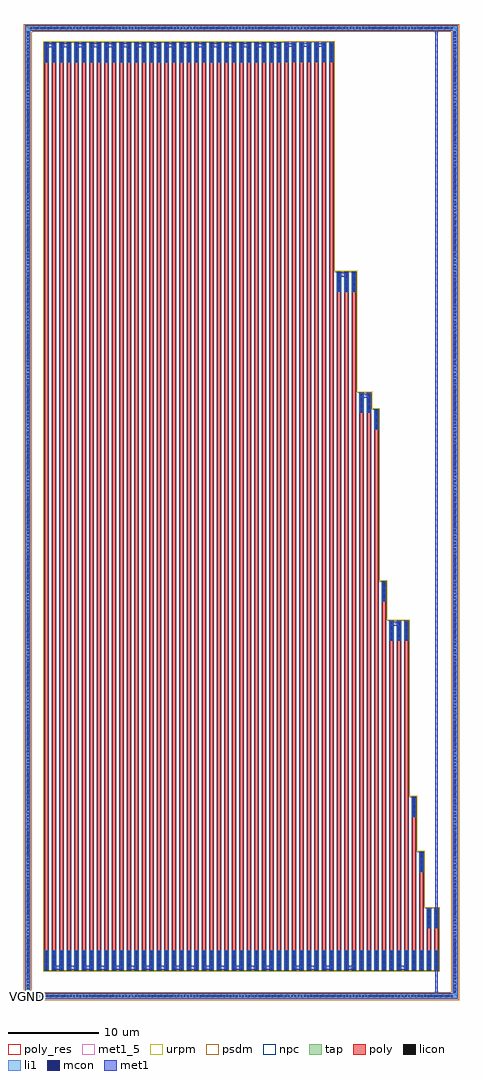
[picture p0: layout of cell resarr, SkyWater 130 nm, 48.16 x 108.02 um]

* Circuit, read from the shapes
.subckt resarr VGND
XR1 sky130_fd_pr__res_xhigh_po_0p35_3NLSCS_3/R1_0 sky130_fd_pr__res_xhigh_po_0p35_3NLSCS_3/R2_0 VGND sky130_fd_pr__res_xhigh_po w=0.35 l=98.31
XR2 sky130_fd_pr__res_xhigh_po_0p35_3NLSCS_3/R1_0 sky130_fd_pr__res_xhigh_po_0p35_3NLSCS_3/R2_1 VGND sky130_fd_pr__res_xhigh_po w=0.35 l=98.31
XR3 sky130_fd_pr__res_xhigh_po_0p35_3NLSCS_3/R1_2 sky130_fd_pr__res_xhigh_po_0p35_3NLSCS_3/R2_1 VGND sky130_fd_pr__res_xhigh_po w=0.35 l=98.31
XR4 sky130_fd_pr__res_xhigh_po_0p35_3NLSCS_3/R1_2 sky130_fd_pr__res_xhigh_po_0p35_3NLSCS_3/R2_3 VGND sky130_fd_pr__res_xhigh_po w=0.35 l=98.31
XR5 sky130_fd_pr__res_xhigh_po_0p35_3NLSCS_3/R1_4 sky130_fd_pr__res_xhigh_po_0p35_3NLSCS_3/R2_3 VGND sky130_fd_pr__res_xhigh_po w=0.35 l=98.31
XR6 sky130_fd_pr__res_xhigh_po_0p35_3NLSCS_3/R1_4 sky130_fd_pr__res_xhigh_po_0p35_3NLSCS_3/R2_5 VGND sky130_fd_pr__res_xhigh_po w=0.35 l=98.31
XR7 sky130_fd_pr__res_xhigh_po_0p35_3NLSCS_3/R1_6 sky130_fd_pr__res_xhigh_po_0p35_3NLSCS_3/R2_5 VGND sky130_fd_pr__res_xhigh_po w=0.35 l=98.31
XR8 sky130_fd_pr__res_xhigh_po_0p35_3NLSCS_3/R1_6 sky130_fd_pr__res_xhigh_po_0p35_3NLSCS_3/R2_7 VGND sky130_fd_pr__res_xhigh_po w=0.35 l=98.31
XR9 sky130_fd_pr__res_xhigh_po_0p35_3NLSCS_3/R1_8 sky130_fd_pr__res_xhigh_po_0p35_3NLSCS_3/R2_7 VGND sky130_fd_pr__res_xhigh_po w=0.35 l=98.31
XR10 sky130_fd_pr__res_xhigh_po_0p35_3NLSCS_3/R1_8 sky130_fd_pr__res_xhigh_po_0p35_3NLSCS_3/R2_10 VGND sky130_fd_pr__res_xhigh_po w=0.35 l=98.31
XR11 sky130_fd_pr__res_xhigh_po_0p35_3NLSCS_3/R1_10 sky130_fd_pr__res_xhigh_po_0p35_3NLSCS_3/R2_10 VGND sky130_fd_pr__res_xhigh_po w=0.35 l=98.31
XR12 sky130_fd_pr__res_xhigh_po_0p35_3NLSCS_3/R1_10 sky130_fd_pr__res_xhigh_po_0p35_3NLSCS_3/R2_11 VGND sky130_fd_pr__res_xhigh_po w=0.35 l=98.31
XR13 sky130_fd_pr__res_xhigh_po_0p35_3NLSCS_3/R1_12 sky130_fd_pr__res_xhigh_po_0p35_3NLSCS_3/R2_11 VGND sky130_fd_pr__res_xhigh_po w=0.35 l=98.31
XR14 sky130_fd_pr__res_xhigh_po_0p35_3NLSCS_3/R1_12 sky130_fd_pr__res_xhigh_po_0p35_3NLSCS_3/R2_13 VGND sky130_fd_pr__res_xhigh_po w=0.35 l=98.31
XR15 sky130_fd_pr__res_xhigh_po_0p35_3NLSCS_3/R1_14 sky130_fd_pr__res_xhigh_po_0p35_3NLSCS_3/R2_13 VGND sky130_fd_pr__res_xhigh_po w=0.35 l=98.31
XR16 sky130_fd_pr__res_xhigh_po_0p35_3NLSCS_3/R1_14 sky130_fd_pr__res_xhigh_po_0p35_3NLSCS_3/R2_15 VGND sky130_fd_pr__res_xhigh_po w=0.35 l=98.31
XR17 sky130_fd_pr__res_xhigh_po_0p35_3NLSCS_3/R1_16 sky130_fd_pr__res_xhigh_po_0p35_3NLSCS_3/R2_15 VGND sky130_fd_pr__res_xhigh_po w=0.35 l=98.31
XR18 sky130_fd_pr__res_xhigh_po_0p35_3NLSCS_3/R1_16 sky130_fd_pr__res_xhigh_po_0p35_3NLSCS_3/R2_17 VGND sky130_fd_pr__res_xhigh_po w=0.35 l=98.31
XR19 sky130_fd_pr__res_xhigh_po_0p35_3NLSCS_3/R1_18 sky130_fd_pr__res_xhigh_po_0p35_3NLSCS_3/R2_17 VGND sky130_fd_pr__res_xhigh_po w=0.35 l=98.31
XR20 sky130_fd_pr__res_xhigh_po_0p35_3NLSCS_3/R1_18 sky130_fd_pr__res_xhigh_po_0p35_3NLSCS_3/R2_19 VGND sky130_fd_pr__res_xhigh_po w=0.35 l=98.31
XR21 sky130_fd_pr__res_xhigh_po_0p35_3NLSCS_3/R1_20 sky130_fd_pr__res_xhigh_po_0p35_3NLSCS_3/R2_19 VGND sky130_fd_pr__res_xhigh_po w=0.35 l=98.31
XR22 sky130_fd_pr__res_xhigh_po_0p35_3NLSCS_3/R1_20 sky130_fd_pr__res_xhigh_po_0p35_3NLSCS_3/R2_21 VGND sky130_fd_pr__res_xhigh_po w=0.35 l=98.31
XR23 sky130_fd_pr__res_xhigh_po_0p35_3NLSCS_3/R1_22 sky130_fd_pr__res_xhigh_po_0p35_3NLSCS_3/R2_21 VGND sky130_fd_pr__res_xhigh_po w=0.35 l=98.31
XR24 sky130_fd_pr__res_xhigh_po_0p35_3NLSCS_3/R1_22 sky130_fd_pr__res_xhigh_po_0p35_3NLSCS_3/R2_23 VGND sky130_fd_pr__res_xhigh_po w=0.35 l=98.31
XR25 sky130_fd_pr__res_xhigh_po_0p35_3NLSCS_3/R1_24 sky130_fd_pr__res_xhigh_po_0p35_3NLSCS_3/R2_23 VGND sky130_fd_pr__res_xhigh_po w=0.35 l=98.31
XR26 sky130_fd_pr__res_xhigh_po_0p35_3NLSCS_3/R1_24 sky130_fd_pr__res_xhigh_po_0p35_3NLSCS_3/R2_25 VGND sky130_fd_pr__res_xhigh_po w=0.35 l=98.31
XR27 sky130_fd_pr__res_xhigh_po_0p35_3NLSCS_3/R1_26 sky130_fd_pr__res_xhigh_po_0p35_3NLSCS_3/R2_25 VGND sky130_fd_pr__res_xhigh_po w=0.35 l=98.31
XR28 sky130_fd_pr__res_xhigh_po_0p35_3NLSCS_3/R1_26 sky130_fd_pr__res_xhigh_po_0p35_3NLSCS_3/R2_27 VGND sky130_fd_pr__res_xhigh_po w=0.35 l=98.31
XR29 sky130_fd_pr__res_xhigh_po_0p35_3NLSCS_3/R1_28 sky130_fd_pr__res_xhigh_po_0p35_3NLSCS_3/R2_27 VGND sky130_fd_pr__res_xhigh_po w=0.35 l=98.31
XR30 sky130_fd_pr__res_xhigh_po_0p35_3NLSCS_3/R1_28 sky130_fd_pr__res_xhigh_po_0p35_3NLSCS_3/R2_29 VGND sky130_fd_pr__res_xhigh_po w=0.35 l=98.31
XR31 sky130_fd_pr__res_xhigh_po_0p35_3NLSCS_3/R1_30 sky130_fd_pr__res_xhigh_po_0p35_3NLSCS_3/R2_29 VGND sky130_fd_pr__res_xhigh_po w=0.35 l=98.31
XR32 sky130_fd_pr__res_xhigh_po_0p35_3NLSCS_3/R1_30 sky130_fd_pr__res_xhigh_po_0p35_3NLSCS_3/R2_31 VGND sky130_fd_pr__res_xhigh_po w=0.35 l=98.31
XR33 sky130_fd_pr__res_xhigh_po_0p35_BNTV37_10/R1_0 sky130_fd_pr__res_xhigh_po_0p35_BNTV37_10/R2_0 VGND sky130_fd_pr__res_xhigh_po w=0.35 l=98.33
XR34 sky130_fd_pr__res_xhigh_po_0p35_BNTV37_10/R1_0 sky130_fd_pr__res_xhigh_po_0p35_BNTV37_10/R2_1 VGND sky130_fd_pr__res_xhigh_po w=0.35 l=98.33
XR35 sky130_fd_pr__res_xhigh_po_0p35_BNTV37_10/R1_2 sky130_fd_pr__res_xhigh_po_0p35_BNTV37_10/R2_1 VGND sky130_fd_pr__res_xhigh_po w=0.35 l=98.33
XR36 sky130_fd_pr__res_xhigh_po_0p35_BNTV37_10/R1_2 sky130_fd_pr__res_xhigh_po_0p35_BNTV37_10/R2_3 VGND sky130_fd_pr__res_xhigh_po w=0.35 l=98.33
XR37 sky130_fd_pr__res_xhigh_po_0p35_BNTV37_10/R1_4 sky130_fd_pr__res_xhigh_po_0p35_BNTV37_10/R2_3 VGND sky130_fd_pr__res_xhigh_po w=0.35 l=98.33
XR38 sky130_fd_pr__res_xhigh_po_0p35_BNTV37_10/R1_4 sky130_fd_pr__res_xhigh_po_0p35_BNTV37_10/R2_5 VGND sky130_fd_pr__res_xhigh_po w=0.35 l=98.33
XR39 sky130_fd_pr__res_xhigh_po_0p35_BNTV37_10/R1_6 sky130_fd_pr__res_xhigh_po_0p35_BNTV37_10/R2_5 VGND sky130_fd_pr__res_xhigh_po w=0.35 l=98.33
XR40 sky130_fd_pr__res_xhigh_po_0p35_5EJA9G_8/R1_0 sky130_fd_pr__res_xhigh_po_0p35_5EJA9G_8/R2_0 VGND sky130_fd_pr__res_xhigh_po w=0.35 l=72.9
XR41 sky130_fd_pr__res_xhigh_po_0p35_5EJA9G_8/R1_0 sky130_fd_pr__res_xhigh_po_0p35_5EJA9G_8/R2_1 VGND sky130_fd_pr__res_xhigh_po w=0.35 l=72.9
XR42 sky130_fd_pr__res_xhigh_po_0p35_5EJA9G_8/R1_2 sky130_fd_pr__res_xhigh_po_0p35_5EJA9G_8/R2_1 VGND sky130_fd_pr__res_xhigh_po w=0.35 l=72.9
XR43 sky130_fd_pr__res_xhigh_po_0p35_AE4F93_6/R1_0 sky130_fd_pr__res_xhigh_po_0p35_AE4F93_6/R2_0 VGND sky130_fd_pr__res_xhigh_po w=0.35 l=59.53
XR44 sky130_fd_pr__res_xhigh_po_0p35_AE4F93_6/R1_0 sky130_fd_pr__res_xhigh_po_0p35_AE4F93_6/R2_1 VGND sky130_fd_pr__res_xhigh_po w=0.35 l=59.53
XR45 sky130_fd_pr__res_xhigh_po_0p35_LB5Z8X_0/R1 sky130_fd_pr__res_xhigh_po_0p35_LB5Z8X_0/R2 VGND sky130_fd_pr__res_xhigh_po w=0.35 l=57.68
XR46 sky130_fd_pr__res_xhigh_po_0p35_K2ZP9Z_7/R1 sky130_fd_pr__res_xhigh_po_0p35_K2ZP9Z_7/R2 VGND sky130_fd_pr__res_xhigh_po w=0.35 l=38.65
XR47 sky130_fd_pr__res_xhigh_po_0p35_YZ7WE6_5/R1_0 sky130_fd_pr__res_xhigh_po_0p35_YZ7WE6_5/R2_0 VGND sky130_fd_pr__res_xhigh_po w=0.35 l=34.29
XR48 sky130_fd_pr__res_xhigh_po_0p35_YZ7WE6_5/R1_0 sky130_fd_pr__res_xhigh_po_0p35_YZ7WE6_5/R2_1 VGND sky130_fd_pr__res_xhigh_po w=0.35 l=34.29
XR49 sky130_fd_pr__res_xhigh_po_0p35_YZ7WE6_5/R1_2 sky130_fd_pr__res_xhigh_po_0p35_YZ7WE6_5/R2_1 VGND sky130_fd_pr__res_xhigh_po w=0.35 l=34.29
XR50 sky130_fd_pr__res_xhigh_po_0p35_69UGH8_9/R1 sky130_fd_pr__res_xhigh_po_0p35_69UGH8_9/R2 VGND sky130_fd_pr__res_xhigh_po w=0.35 l=14.8
XR51 sky130_fd_pr__res_xhigh_po_0p35_629U2W_1/R1 sky130_fd_pr__res_xhigh_po_0p35_629U2W_1/R2 VGND sky130_fd_pr__res_xhigh_po w=0.35 l=8.7
XR52 sky130_fd_pr__res_xhigh_po_0p35_RQEGBP_2/R1 sky130_fd_pr__res_xhigh_po_0p35_RQEGBP_2/R2 VGND sky130_fd_pr__res_xhigh_po w=0.35 l=2.48
XR53 VGND VGND VGND sky130_fd_pr__res_xhigh_po w=0.35 l=2.48
.ends

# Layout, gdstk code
import gdstk
lib = gdstk.Library(unit=1e-6, precision=1e-09)
def R(c, l, rs):  # rectangles x0, y0, x1, y1
    for r in rs: c.add(gdstk.rectangle(r[:2], r[2:], *l))
def A(c, l, x, y, w, h, nx, ny, dx, dy):  # array of equal rectangles
    R(c, l, [(x+i*dx, y+j*dy, x+i*dx+w, y+j*dy+h) for i in range(nx) for j in range(ny)])
tap = (65, 44)
poly_res = (66, 13)
poly = (66, 20)
licon = (66, 44)
li1 = (67, 20)
mcon = (67, 44)
met1_5 = (68, 5)
met1 = (68, 20)
urpm = (79, 20)
psdm = (94, 20)
npc = (95, 20)

sky130_fd_pr__res_xhigh_ = lib.new_cell('sky130_fd_pr__res_xhigh_po_0p35_LB5Z8X')
R(sky130_fd_pr__res_xhigh_, poly_res, [(-0.175,-28.9,0.175,28.9)])
R(sky130_fd_pr__res_xhigh_, poly, [(-0.175,-30.98,0.175,30.98)])
R(sky130_fd_pr__res_xhigh_, licon, [(-0.095,-30.9,0.095,-28.9), (-0.095,28.9,0.095,30.9)])
R(sky130_fd_pr__res_xhigh_, li1, [(-0.175,-30.98,0.175,-28.82), (-0.175,28.82,0.175,30.98)])
A(sky130_fd_pr__res_xhigh_, mcon, -0.085, -30.885, 0.17, 0.17, 1, 6, 0, 0.36)
A(sky130_fd_pr__res_xhigh_, mcon, -0.085, 28.91, 0.17, 0.17, 1, 6, 0, 0.36)
R(sky130_fd_pr__res_xhigh_, met1, [(-0.125,-30.95,0.125,-28.845), (-0.125,28.845,0.125,30.95)])
R(sky130_fd_pr__res_xhigh_, urpm, [(-0.375,-31.18,0.375,31.18)])
R(sky130_fd_pr__res_xhigh_, psdm, [(-0.285,-31.09,0.285,31.09)])
R(sky130_fd_pr__res_xhigh_, npc, [(-0.27,-31.075,0.27,31.075)])
sky130_fd_pr__res_xhigh_.add(gdstk.Label('R2', (0,-30.805), layer=67, texttype=5))
sky130_fd_pr__res_xhigh_.add(gdstk.Label('R1', (0,30.805), layer=67, texttype=5))

c_sky130_fd_pr__res_xhigh_ = lib.new_cell('sky130_fd_pr__res_xhigh_po_0p35_629U2W')
R(c_sky130_fd_pr__res_xhigh_, poly_res, [(-0.175,-4.41,0.175,4.41)])
R(c_sky130_fd_pr__res_xhigh_, poly, [(-0.175,-6.49,0.175,6.49)])
R(c_sky130_fd_pr__res_xhigh_, licon, [(-0.095,-6.41,0.095,-4.41), (-0.095,4.41,0.095,6.41)])
R(c_sky130_fd_pr__res_xhigh_, li1, [(-0.175,-6.49,0.175,-4.33), (-0.175,4.33,0.175,6.49)])
A(c_sky130_fd_pr__res_xhigh_, mcon, -0.085, -6.395, 0.17, 0.17, 1, 6, 0, 0.36)
A(c_sky130_fd_pr__res_xhigh_, mcon, -0.085, 4.42, 0.17, 0.17, 1, 6, 0, 0.36)
R(c_sky130_fd_pr__res_xhigh_, met1, [(-0.125,-6.46,0.125,-4.355), (-0.125,4.355,0.125,6.46)])
R(c_sky130_fd_pr__res_xhigh_, urpm, [(-0.375,-6.69,0.375,6.69)])
R(c_sky130_fd_pr__res_xhigh_, psdm, [(-0.285,-6.6,0.285,6.6)])
R(c_sky130_fd_pr__res_xhigh_, npc, [(-0.27,-6.585,0.27,6.585)])
c_sky130_fd_pr__res_xhigh_.add(gdstk.Label('R2', (0,-6.315), layer=67, texttype=5))
c_sky130_fd_pr__res_xhigh_.add(gdstk.Label('R1', (0,6.315), layer=67, texttype=5))

c_sky130_fd_pr__res_xhigh__ = lib.new_cell('sky130_fd_pr__res_xhigh_po_0p35_RQEGBP')
R(c_sky130_fd_pr__res_xhigh__, poly_res, [(-0.175,-1.3,0.175,1.3)])
R(c_sky130_fd_pr__res_xhigh__, poly, [(-0.175,-3.38,0.175,3.38)])
R(c_sky130_fd_pr__res_xhigh__, licon, [(-0.095,-3.3,0.095,-1.3), (-0.095,1.3,0.095,3.3)])
R(c_sky130_fd_pr__res_xhigh__, li1, [(-0.175,-3.38,0.175,-1.22), (-0.175,1.22,0.175,3.38)])
A(c_sky130_fd_pr__res_xhigh__, mcon, -0.085, -3.285, 0.17, 0.17, 1, 6, 0, 0.36)
A(c_sky130_fd_pr__res_xhigh__, mcon, -0.085, 1.31, 0.17, 0.17, 1, 6, 0, 0.36)
R(c_sky130_fd_pr__res_xhigh__, met1, [(-0.125,-3.35,0.125,-1.245), (-0.125,1.245,0.125,3.35)])
R(c_sky130_fd_pr__res_xhigh__, urpm, [(-0.375,-3.58,0.375,3.58)])
R(c_sky130_fd_pr__res_xhigh__, psdm, [(-0.285,-3.49,0.285,3.49)])
R(c_sky130_fd_pr__res_xhigh__, npc, [(-0.27,-3.475,0.27,3.475)])
c_sky130_fd_pr__res_xhigh__.add(gdstk.Label('R2', (0,-3.205), layer=67, texttype=5))
c_sky130_fd_pr__res_xhigh__.add(gdstk.Label('R1', (0,3.205), layer=67, texttype=5))

c_sky130_fd_pr__res_xhigh___ = lib.new_cell('sky130_fd_pr__res_xhigh_po_0p35_3NLSCS')
A(c_sky130_fd_pr__res_xhigh___, poly_res, -13.04, -49.215, 0.35, 98.43, 32, 1, 0.83, 0)
A(c_sky130_fd_pr__res_xhigh___, poly, -13.04, -51.295, 0.35, 102.59, 32, 1, 0.83, 0)
A(c_sky130_fd_pr__res_xhigh___, licon, -12.96, -51.215, 0.19, 2, 32, 2, 0.83, 100.43)
A(c_sky130_fd_pr__res_xhigh___, li1, -13.04, -51.295, 0.35, 2.16, 32, 2, 0.83, 100.43)
A(c_sky130_fd_pr__res_xhigh___, mcon, -12.95, -51.2, 0.17, 0.17, 32, 6, 0.83, 0.36)
A(c_sky130_fd_pr__res_xhigh___, mcon, -12.95, 49.225, 0.17, 0.17, 32, 6, 0.83, 0.36)
A(c_sky130_fd_pr__res_xhigh___, met1, -12.99, -51.265, 0.25, 2.105, 32, 2, 0.83, 100.425)
R(c_sky130_fd_pr__res_xhigh___, urpm, [(-13.24,-51.495,13.24,51.495)])
R(c_sky130_fd_pr__res_xhigh___, psdm, [(-13.15,-51.405,13.15,51.405)])
A(c_sky130_fd_pr__res_xhigh___, npc, -13.135, -51.39, 0.54, 102.78, 32, 1, 0.83, 0)
c_sky130_fd_pr__res_xhigh___.add(gdstk.Label('R2_31', (12.865,-51.12), layer=67, texttype=5))
c_sky130_fd_pr__res_xhigh___.add(gdstk.Label('R2_30', (12.035,-51.12), layer=67, texttype=5))
c_sky130_fd_pr__res_xhigh___.add(gdstk.Label('R1_30', (12.035,51.12), layer=67, texttype=5))
c_sky130_fd_pr__res_xhigh___.add(gdstk.Label('R2_29', (11.205,-51.12), layer=67, texttype=5))
c_sky130_fd_pr__res_xhigh___.add(gdstk.Label('R1_14', (-1.245,51.12), layer=67, texttype=5))
c_sky130_fd_pr__res_xhigh___.add(gdstk.Label('R2_16', (0.415,-51.12), layer=67, texttype=5))
c_sky130_fd_pr__res_xhigh___.add(gdstk.Label('R2_13', (-2.075,-51.12), layer=67, texttype=5))
c_sky130_fd_pr__res_xhigh___.add(gdstk.Label('R2_10', (-4.565,-51.12), layer=67, texttype=5))
c_sky130_fd_pr__res_xhigh___.add(gdstk.Label('R2_21', (4.565,-51.12), layer=67, texttype=5))
c_sky130_fd_pr__res_xhigh___.add(gdstk.Label('R1_29', (11.205,51.12), layer=67, texttype=5))
c_sky130_fd_pr__res_xhigh___.add(gdstk.Label('R1_26', (8.715,51.12), layer=67, texttype=5))
c_sky130_fd_pr__res_xhigh___.add(gdstk.Label('R2_9', (-5.395,-51.12), layer=67, texttype=5))
c_sky130_fd_pr__res_xhigh___.add(gdstk.Label('R2_11', (-3.735,-51.12), layer=67, texttype=5))
c_sky130_fd_pr__res_xhigh___.add(gdstk.Label('R1_21', (4.565,51.12), layer=67, texttype=5))
c_sky130_fd_pr__res_xhigh___.add(gdstk.Label('R2_3', (-10.375,-51.12), layer=67, texttype=5))
c_sky130_fd_pr__res_xhigh___.add(gdstk.Label('R1_20', (3.735,51.12), layer=67, texttype=5))
c_sky130_fd_pr__res_xhigh___.add(gdstk.Label('R2_7', (-7.055,-51.12), layer=67, texttype=5))
c_sky130_fd_pr__res_xhigh___.add(gdstk.Label('R1_7', (-7.055,51.12), layer=67, texttype=5))
c_sky130_fd_pr__res_xhigh___.add(gdstk.Label('R1_11', (-3.735,51.12), layer=67, texttype=5))
c_sky130_fd_pr__res_xhigh___.add(gdstk.Label('R2_6', (-7.885,-51.12), layer=67, texttype=5))
c_sky130_fd_pr__res_xhigh___.add(gdstk.Label('R2_25', (7.885,-51.12), layer=67, texttype=5))
c_sky130_fd_pr__res_xhigh___.add(gdstk.Label('R1_3', (-10.375,51.12), layer=67, texttype=5))
c_sky130_fd_pr__res_xhigh___.add(gdstk.Label('R2_27', (9.545,-51.12), layer=67, texttype=5))
c_sky130_fd_pr__res_xhigh___.add(gdstk.Label('R1_24', (7.055,51.12), layer=67, texttype=5))
c_sky130_fd_pr__res_xhigh___.add(gdstk.Label('R1_1', (-12.035,51.12), layer=67, texttype=5))
c_sky130_fd_pr__res_xhigh___.add(gdstk.Label('R1_15', (-0.415,51.12), layer=67, texttype=5))
c_sky130_fd_pr__res_xhigh___.add(gdstk.Label('R2_5', (-8.715,-51.12), layer=67, texttype=5))
c_sky130_fd_pr__res_xhigh___.add(gdstk.Label('R2_0', (-12.865,-51.12), layer=67, texttype=5))
c_sky130_fd_pr__res_xhigh___.add(gdstk.Label('R1_12', (-2.905,51.12), layer=67, texttype=5))
c_sky130_fd_pr__res_xhigh___.add(gdstk.Label('R2_18', (2.075,-51.12), layer=67, texttype=5))
c_sky130_fd_pr__res_xhigh___.add(gdstk.Label('R2_12', (-2.905,-51.12), layer=67, texttype=5))
c_sky130_fd_pr__res_xhigh___.add(gdstk.Label('R2_2', (-11.205,-51.12), layer=67, texttype=5))
c_sky130_fd_pr__res_xhigh___.add(gdstk.Label('R1_2', (-11.205,51.12), layer=67, texttype=5))
c_sky130_fd_pr__res_xhigh___.add(gdstk.Label('R1_4', (-9.545,51.12), layer=67, texttype=5))
c_sky130_fd_pr__res_xhigh___.add(gdstk.Label('R2_8', (-6.225,-51.12), layer=67, texttype=5))
c_sky130_fd_pr__res_xhigh___.add(gdstk.Label('R2_17', (1.245,-51.12), layer=67, texttype=5))
c_sky130_fd_pr__res_xhigh___.add(gdstk.Label('R1_10', (-4.565,51.12), layer=67, texttype=5))
c_sky130_fd_pr__res_xhigh___.add(gdstk.Label('R1_13', (-2.075,51.12), layer=67, texttype=5))
c_sky130_fd_pr__res_xhigh___.add(gdstk.Label('R2_14', (-1.245,-51.12), layer=67, texttype=5))
c_sky130_fd_pr__res_xhigh___.add(gdstk.Label('R2_15', (-0.415,-51.12), layer=67, texttype=5))
c_sky130_fd_pr__res_xhigh___.add(gdstk.Label('R1_17', (1.245,51.12), layer=67, texttype=5))
c_sky130_fd_pr__res_xhigh___.add(gdstk.Label('R1_19', (2.905,51.12), layer=67, texttype=5))
c_sky130_fd_pr__res_xhigh___.add(gdstk.Label('R1_6', (-7.885,51.12), layer=67, texttype=5))
c_sky130_fd_pr__res_xhigh___.add(gdstk.Label('R1_18', (2.075,51.12), layer=67, texttype=5))
c_sky130_fd_pr__res_xhigh___.add(gdstk.Label('R1_28', (10.375,51.12), layer=67, texttype=5))
c_sky130_fd_pr__res_xhigh___.add(gdstk.Label('R2_19', (2.905,-51.12), layer=67, texttype=5))
c_sky130_fd_pr__res_xhigh___.add(gdstk.Label('R1_16', (0.415,51.12), layer=67, texttype=5))
c_sky130_fd_pr__res_xhigh___.add(gdstk.Label('R2_23', (6.225,-51.12), layer=67, texttype=5))
c_sky130_fd_pr__res_xhigh___.add(gdstk.Label('R1_5', (-8.715,51.12), layer=67, texttype=5))
c_sky130_fd_pr__res_xhigh___.add(gdstk.Label('R2_20', (3.735,-51.12), layer=67, texttype=5))
c_sky130_fd_pr__res_xhigh___.add(gdstk.Label('R2_4', (-9.545,-51.12), layer=67, texttype=5))
c_sky130_fd_pr__res_xhigh___.add(gdstk.Label('R1_22', (5.395,51.12), layer=67, texttype=5))
c_sky130_fd_pr__res_xhigh___.add(gdstk.Label('R2_1', (-12.035,-51.12), layer=67, texttype=5))
c_sky130_fd_pr__res_xhigh___.add(gdstk.Label('R1_23', (6.225,51.12), layer=67, texttype=5))
c_sky130_fd_pr__res_xhigh___.add(gdstk.Label('R2_22', (5.395,-51.12), layer=67, texttype=5))
c_sky130_fd_pr__res_xhigh___.add(gdstk.Label('R1_31', (12.865,51.12), layer=67, texttype=5))
c_sky130_fd_pr__res_xhigh___.add(gdstk.Label('R1_9', (-5.395,51.12), layer=67, texttype=5))
c_sky130_fd_pr__res_xhigh___.add(gdstk.Label('R2_24', (7.055,-51.12), layer=67, texttype=5))
c_sky130_fd_pr__res_xhigh___.add(gdstk.Label('R1_8', (-6.225,51.12), layer=67, texttype=5))
c_sky130_fd_pr__res_xhigh___.add(gdstk.Label('R1_25', (7.885,51.12), layer=67, texttype=5))
c_sky130_fd_pr__res_xhigh___.add(gdstk.Label('R1_27', (9.545,51.12), layer=67, texttype=5))
c_sky130_fd_pr__res_xhigh___.add(gdstk.Label('R2_26', (8.715,-51.12), layer=67, texttype=5))
c_sky130_fd_pr__res_xhigh___.add(gdstk.Label('R1_0', (-12.865,51.12), layer=67, texttype=5))
c_sky130_fd_pr__res_xhigh___.add(gdstk.Label('R2_28', (10.375,-51.12), layer=67, texttype=5))

c_sky130_fd_pr__res_xhigh____ = lib.new_cell('sky130_fd_pr__res_xhigh_po_0p35_YZ7WE6')
A(c_sky130_fd_pr__res_xhigh____, poly_res, -1.005, -17.205, 0.35, 34.41, 3, 1, 0.83, 0)
A(c_sky130_fd_pr__res_xhigh____, poly, -1.005, -19.285, 0.35, 38.57, 3, 1, 0.83, 0)
A(c_sky130_fd_pr__res_xhigh____, licon, -0.925, -19.205, 0.19, 2, 3, 2, 0.83, 36.41)
A(c_sky130_fd_pr__res_xhigh____, li1, -1.005, -19.285, 0.35, 2.16, 3, 2, 0.83, 36.41)
A(c_sky130_fd_pr__res_xhigh____, mcon, -0.915, -19.19, 0.17, 0.17, 3, 6, 0.83, 0.36)
A(c_sky130_fd_pr__res_xhigh____, mcon, -0.915, 17.215, 0.17, 0.17, 3, 6, 0.83, 0.36)
A(c_sky130_fd_pr__res_xhigh____, met1, -0.955, -19.255, 0.25, 2.105, 3, 2, 0.83, 36.405)
R(c_sky130_fd_pr__res_xhigh____, urpm, [(-1.205,-19.485,1.205,19.485)])
R(c_sky130_fd_pr__res_xhigh____, psdm, [(-1.115,-19.395,1.115,19.395)])
A(c_sky130_fd_pr__res_xhigh____, npc, -1.1, -19.38, 0.54, 38.76, 3, 1, 0.83, 0)
c_sky130_fd_pr__res_xhigh____.add(gdstk.Label('R2_2', (0.83,-19.11), layer=67, texttype=5))
c_sky130_fd_pr__res_xhigh____.add(gdstk.Label('R1_2', (0.83,19.11), layer=67, texttype=5))
c_sky130_fd_pr__res_xhigh____.add(gdstk.Label('R2_1', (0,-19.11), layer=67, texttype=5))
c_sky130_fd_pr__res_xhigh____.add(gdstk.Label('R1_1', (0,19.11), layer=67, texttype=5))
c_sky130_fd_pr__res_xhigh____.add(gdstk.Label('R2_0', (-0.83,-19.11), layer=67, texttype=5))
c_sky130_fd_pr__res_xhigh____.add(gdstk.Label('R1_0', (-0.83,19.11), layer=67, texttype=5))

c_sky130_fd_pr__res_xhigh_____ = lib.new_cell('sky130_fd_pr__res_xhigh_po_0p35_AE4F93')
R(c_sky130_fd_pr__res_xhigh_____, poly_res, [(-0.59,-29.825,-0.24,29.825), (0.24,-29.825,0.59,29.825)])
R(c_sky130_fd_pr__res_xhigh_____, poly, [(-0.59,-31.905,-0.24,31.905), (0.24,-31.905,0.59,31.905)])
R(c_sky130_fd_pr__res_xhigh_____, licon, [(-0.51,-31.825,-0.32,-29.825), (0.32,-31.825,0.51,-29.825), (-0.51,29.825,-0.32,31.825), (0.32,29.825,0.51,31.825)])
R(c_sky130_fd_pr__res_xhigh_____, li1, [(-0.59,-31.905,-0.24,-29.745), (0.24,-31.905,0.59,-29.745), (-0.59,29.745,-0.24,31.905), (0.24,29.745,0.59,31.905)])
A(c_sky130_fd_pr__res_xhigh_____, mcon, -0.5, -31.81, 0.17, 0.17, 1, 6, 0, 0.36)
A(c_sky130_fd_pr__res_xhigh_____, mcon, 0.33, -31.81, 0.17, 0.17, 1, 6, 0, 0.36)
A(c_sky130_fd_pr__res_xhigh_____, mcon, -0.5, 29.835, 0.17, 0.17, 1, 6, 0, 0.36)
A(c_sky130_fd_pr__res_xhigh_____, mcon, 0.33, 29.835, 0.17, 0.17, 1, 6, 0, 0.36)
R(c_sky130_fd_pr__res_xhigh_____, met1, [(-0.54,-31.875,-0.29,-29.77), (0.29,-31.875,0.54,-29.77), (-0.54,29.77,-0.29,31.875), (0.29,29.77,0.54,31.875)])
R(c_sky130_fd_pr__res_xhigh_____, urpm, [(-0.79,-32.105,0.79,32.105)])
R(c_sky130_fd_pr__res_xhigh_____, psdm, [(-0.7,-32.015,0.7,32.015)])
R(c_sky130_fd_pr__res_xhigh_____, npc, [(-0.685,-32,-0.145,32), (0.145,-32,0.685,32)])
c_sky130_fd_pr__res_xhigh_____.add(gdstk.Label('R2_1', (0.415,-31.73), layer=67, texttype=5))
c_sky130_fd_pr__res_xhigh_____.add(gdstk.Label('R1_1', (0.415,31.73), layer=67, texttype=5))
c_sky130_fd_pr__res_xhigh_____.add(gdstk.Label('R2_0', (-0.415,-31.73), layer=67, texttype=5))
c_sky130_fd_pr__res_xhigh_____.add(gdstk.Label('R1_0', (-0.415,31.73), layer=67, texttype=5))

c_sky130_fd_pr__res_xhigh______ = lib.new_cell('sky130_fd_pr__res_xhigh_po_0p35_K2ZP9Z')
R(c_sky130_fd_pr__res_xhigh______, poly_res, [(-0.175,-19.385,0.175,19.385)])
R(c_sky130_fd_pr__res_xhigh______, poly, [(-0.175,-21.465,0.175,21.465)])
R(c_sky130_fd_pr__res_xhigh______, licon, [(-0.095,-21.385,0.095,-19.385), (-0.095,19.385,0.095,21.385)])
R(c_sky130_fd_pr__res_xhigh______, li1, [(-0.175,-21.465,0.175,-19.305), (-0.175,19.305,0.175,21.465)])
A(c_sky130_fd_pr__res_xhigh______, mcon, -0.085, -21.37, 0.17, 0.17, 1, 6, 0, 0.36)
A(c_sky130_fd_pr__res_xhigh______, mcon, -0.085, 19.395, 0.17, 0.17, 1, 6, 0, 0.36)
R(c_sky130_fd_pr__res_xhigh______, met1, [(-0.125,-21.435,0.125,-19.33), (-0.125,19.33,0.125,21.435)])
R(c_sky130_fd_pr__res_xhigh______, urpm, [(-0.375,-21.665,0.375,21.665)])
R(c_sky130_fd_pr__res_xhigh______, psdm, [(-0.285,-21.575,0.285,21.575)])
R(c_sky130_fd_pr__res_xhigh______, npc, [(-0.27,-21.56,0.27,21.56)])
c_sky130_fd_pr__res_xhigh______.add(gdstk.Label('R2', (0,-21.29), layer=67, texttype=5))
c_sky130_fd_pr__res_xhigh______.add(gdstk.Label('R1', (0,21.29), layer=67, texttype=5))

c_sky130_fd_pr__res_xhigh_______ = lib.new_cell('sky130_fd_pr__res_xhigh_po_0p35_5EJA9G')
A(c_sky130_fd_pr__res_xhigh_______, poly_res, -1.005, -36.51, 0.35, 73.02, 3, 1, 0.83, 0)
A(c_sky130_fd_pr__res_xhigh_______, poly, -1.005, -38.59, 0.35, 77.18, 3, 1, 0.83, 0)
A(c_sky130_fd_pr__res_xhigh_______, licon, -0.925, -38.51, 0.19, 2, 3, 2, 0.83, 75.02)
A(c_sky130_fd_pr__res_xhigh_______, li1, -1.005, -38.59, 0.35, 2.16, 3, 2, 0.83, 75.02)
A(c_sky130_fd_pr__res_xhigh_______, mcon, -0.915, -38.495, 0.17, 0.17, 3, 6, 0.83, 0.36)
A(c_sky130_fd_pr__res_xhigh_______, mcon, -0.915, 36.52, 0.17, 0.17, 3, 6, 0.83, 0.36)
A(c_sky130_fd_pr__res_xhigh_______, met1, -0.955, -38.56, 0.25, 2.105, 3, 2, 0.83, 75.015)
R(c_sky130_fd_pr__res_xhigh_______, urpm, [(-1.205,-38.79,1.205,38.79)])
R(c_sky130_fd_pr__res_xhigh_______, psdm, [(-1.115,-38.7,1.115,38.7)])
A(c_sky130_fd_pr__res_xhigh_______, npc, -1.1, -38.685, 0.54, 77.37, 3, 1, 0.83, 0)
c_sky130_fd_pr__res_xhigh_______.add(gdstk.Label('R2_2', (0.83,-38.415), layer=67, texttype=5))
c_sky130_fd_pr__res_xhigh_______.add(gdstk.Label('R1_2', (0.83,38.415), layer=67, texttype=5))
c_sky130_fd_pr__res_xhigh_______.add(gdstk.Label('R2_1', (0,-38.415), layer=67, texttype=5))
c_sky130_fd_pr__res_xhigh_______.add(gdstk.Label('R1_1', (0,38.415), layer=67, texttype=5))
c_sky130_fd_pr__res_xhigh_______.add(gdstk.Label('R2_0', (-0.83,-38.415), layer=67, texttype=5))
c_sky130_fd_pr__res_xhigh_______.add(gdstk.Label('R1_0', (-0.83,38.415), layer=67, texttype=5))

c_sky130_fd_pr__res_xhigh________ = lib.new_cell('sky130_fd_pr__res_xhigh_po_0p35_69UGH8')
R(c_sky130_fd_pr__res_xhigh________, poly_res, [(-0.175,-7.46,0.175,7.46)])
R(c_sky130_fd_pr__res_xhigh________, poly, [(-0.175,-9.54,0.175,9.54)])
R(c_sky130_fd_pr__res_xhigh________, licon, [(-0.095,-9.46,0.095,-7.46), (-0.095,7.46,0.095,9.46)])
R(c_sky130_fd_pr__res_xhigh________, li1, [(-0.175,-9.54,0.175,-7.38), (-0.175,7.38,0.175,9.54)])
A(c_sky130_fd_pr__res_xhigh________, mcon, -0.085, -9.445, 0.17, 0.17, 1, 6, 0, 0.36)
A(c_sky130_fd_pr__res_xhigh________, mcon, -0.085, 7.47, 0.17, 0.17, 1, 6, 0, 0.36)
R(c_sky130_fd_pr__res_xhigh________, met1, [(-0.125,-9.51,0.125,-7.405), (-0.125,7.405,0.125,9.51)])
R(c_sky130_fd_pr__res_xhigh________, urpm, [(-0.375,-9.74,0.375,9.74)])
R(c_sky130_fd_pr__res_xhigh________, psdm, [(-0.285,-9.65,0.285,9.65)])
R(c_sky130_fd_pr__res_xhigh________, npc, [(-0.27,-9.635,0.27,9.635)])
c_sky130_fd_pr__res_xhigh________.add(gdstk.Label('R2', (0,-9.365), layer=67, texttype=5))
c_sky130_fd_pr__res_xhigh________.add(gdstk.Label('R1', (0,9.365), layer=67, texttype=5))

c_sky130_fd_pr__res_xhigh_________ = lib.new_cell('sky130_fd_pr__res_xhigh_po_0p35_BNTV37')
A(c_sky130_fd_pr__res_xhigh_________, poly_res, -2.665, -49.225, 0.35, 98.45, 7, 1, 0.83, 0)
A(c_sky130_fd_pr__res_xhigh_________, poly, -2.665, -51.305, 0.35, 102.61, 7, 1, 0.83, 0)
A(c_sky130_fd_pr__res_xhigh_________, licon, -2.585, -51.225, 0.19, 2, 7, 2, 0.83, 100.45)
A(c_sky130_fd_pr__res_xhigh_________, li1, -2.665, -51.305, 0.35, 2.16, 7, 2, 0.83, 100.45)
A(c_sky130_fd_pr__res_xhigh_________, mcon, -2.575, -51.21, 0.17, 0.17, 7, 6, 0.83, 0.36)
A(c_sky130_fd_pr__res_xhigh_________, mcon, -2.575, 49.235, 0.17, 0.17, 7, 6, 0.83, 0.36)
A(c_sky130_fd_pr__res_xhigh_________, met1, -2.615, -51.275, 0.25, 2.105, 7, 2, 0.83, 100.445)
R(c_sky130_fd_pr__res_xhigh_________, urpm, [(-2.865,-51.505,2.865,51.505)])
R(c_sky130_fd_pr__res_xhigh_________, psdm, [(-2.775,-51.415,2.775,51.415)])
A(c_sky130_fd_pr__res_xhigh_________, npc, -2.76, -51.4, 0.54, 102.8, 7, 1, 0.83, 0)
c_sky130_fd_pr__res_xhigh_________.add(gdstk.Label('R2_6', (2.49,-51.13), layer=67, texttype=5))
c_sky130_fd_pr__res_xhigh_________.add(gdstk.Label('R1_0', (-2.49,51.13), layer=67, texttype=5))
c_sky130_fd_pr__res_xhigh_________.add(gdstk.Label('R1_3', (0,51.13), layer=67, texttype=5))
c_sky130_fd_pr__res_xhigh_________.add(gdstk.Label('R1_1', (-1.66,51.13), layer=67, texttype=5))
c_sky130_fd_pr__res_xhigh_________.add(gdstk.Label('R2_5', (1.66,-51.13), layer=67, texttype=5))
c_sky130_fd_pr__res_xhigh_________.add(gdstk.Label('R2_0', (-2.49,-51.13), layer=67, texttype=5))
c_sky130_fd_pr__res_xhigh_________.add(gdstk.Label('R2_1', (-1.66,-51.13), layer=67, texttype=5))
c_sky130_fd_pr__res_xhigh_________.add(gdstk.Label('R2_2', (-0.83,-51.13), layer=67, texttype=5))
c_sky130_fd_pr__res_xhigh_________.add(gdstk.Label('R1_6', (2.49,51.13), layer=67, texttype=5))
c_sky130_fd_pr__res_xhigh_________.add(gdstk.Label('R2_3', (0,-51.13), layer=67, texttype=5))
c_sky130_fd_pr__res_xhigh_________.add(gdstk.Label('R1_2', (-0.83,51.13), layer=67, texttype=5))
c_sky130_fd_pr__res_xhigh_________.add(gdstk.Label('R2_4', (0.83,-51.13), layer=67, texttype=5))
c_sky130_fd_pr__res_xhigh_________.add(gdstk.Label('R1_5', (1.66,51.13), layer=67, texttype=5))
c_sky130_fd_pr__res_xhigh_________.add(gdstk.Label('R1_4', (0.83,51.13), layer=67, texttype=5))

resarr = lib.new_cell('resarr')
R(resarr, tap, [(-2.2,-3.2,45.71,-2.6), (-2.2,-2.6,-1.6,103.975), (45.11,-2.6,45.71,103.975), (-2.2,103.975,45.71,104.575)])
A(resarr, licon, -1.62, -2.985, 0.17, 0.17, 138, 2, 0.34, 107.175)
A(resarr, licon, -1.985, -2.44, 0.17, 0.17, 1, 313, 0, 0.34)
A(resarr, licon, 45.325, -2.44, 0.17, 0.17, 1, 313, 0, 0.34)
R(resarr, li1, [(-2.2,-3.2,45.71,-2.6), (-2.2,-2.6,-1.6,103.975), (45.11,-2.6,45.71,103.975), (-2.2,103.975,45.71,104.575)])
A(resarr, mcon, -1.55, -2.985, 0.17, 0.17, 130, 2, 0.36, 107.175)
A(resarr, mcon, -1.985, -2.5, 0.17, 0.17, 1, 296, 0, 0.36)
A(resarr, mcon, 45.325, -2.5, 0.17, 0.17, 1, 296, 0, 0.36)
R(resarr, met1_5, [(-2,-3,-1.8,-2.8)])
A(resarr, met1, 0.88, 0.03, 1.08, 0.42, 15, 1, 1.66, 0)
A(resarr, met1, 27.44, 0.03, 1.08, 0.42, 3, 1, 1.66, 0)
A(resarr, met1, 0.05, 102.135, 1.08, 0.42, 16, 1, 1.66, 0)
A(resarr, met1, 26.61, 102.165, 1.08, 0.42, 3, 1, 1.66, 0)
R(resarr, met1, [(-2.2,-3.2,45.71,-2.6), (-2.2,-2.6,-1.6,103.975), (43.21,-2.6,43.46,0.5), (45.11,-2.6,45.71,103.975), (33.25,0.03,34.33,0.45), (39.06,0.03,40.14,0.45), (43.21,6.2,43.46,103.975), (38.23,38.12,39.31,38.54), (34.91,63.36,35.99,63.78), (32.42,76.73,33.5,77.15), (-2.2,103.975,45.71,104.575)])
R(resarr, urpm, [(26.28,-0.2,26.36,102.79), (32.09,-0.2,32.17,77.38), (34.58,-0.2,34.66,64.01), (36.24,-0.2,36.32,62.16), (37.07,-0.2,37.15,43.13), (37.9,-0.2,37.98,38.77), (40.39,-0.2,40.47,19.28), (41.22,-0.2,41.3,13.18), (42.05,-0.2,42.13,6.96), (42.88,-0.2,42.96,6.96)])
R(resarr, psdm, [(-2.325,-3.325,45.835,-2.475), (-2.325,-2.475,-1.475,103.85), (44.985,-2.475,45.835,103.85), (26.19,-0.11,26.45,102.7), (32,-0.11,32.26,77.29), (34.49,-0.11,34.75,63.92), (36.15,-0.11,36.41,62.07), (36.98,-0.11,37.24,43.04), (37.81,-0.11,38.07,38.68), (40.3,-0.11,40.56,19.19), (41.13,-0.11,41.39,13.09), (41.96,-0.11,42.22,6.87), (42.79,-0.11,43.05,6.87), (-2.325,103.85,45.835,104.7)])
resarr.add(gdstk.Reference(sky130_fd_pr__res_xhigh_, (36.695,30.98)))
resarr.add(gdstk.Reference(c_sky130_fd_pr__res_xhigh_, (41.675,6.49)))
resarr.add(gdstk.Reference(c_sky130_fd_pr__res_xhigh__, (42.505,3.38)))
resarr.add(gdstk.Reference(c_sky130_fd_pr__res_xhigh___, (13.04,51.295)))
resarr.add(gdstk.Reference(c_sky130_fd_pr__res_xhigh__, (43.335,3.38)))
resarr.add(gdstk.Reference(c_sky130_fd_pr__res_xhigh____, (39.185,19.285)))
resarr.add(gdstk.Reference(c_sky130_fd_pr__res_xhigh_____, (35.45,31.905)))
resarr.add(gdstk.Reference(c_sky130_fd_pr__res_xhigh______, (37.525,21.465)))
resarr.add(gdstk.Reference(c_sky130_fd_pr__res_xhigh_______, (33.375,38.59)))
resarr.add(gdstk.Reference(c_sky130_fd_pr__res_xhigh________, (40.845,9.54)))
resarr.add(gdstk.Reference(c_sky130_fd_pr__res_xhigh_________, (29.225,51.305)))
resarr.add(gdstk.Label('VGND', (-1.9,-2.9), layer=68, texttype=5))

lib.write_gds('resarr.gds')
